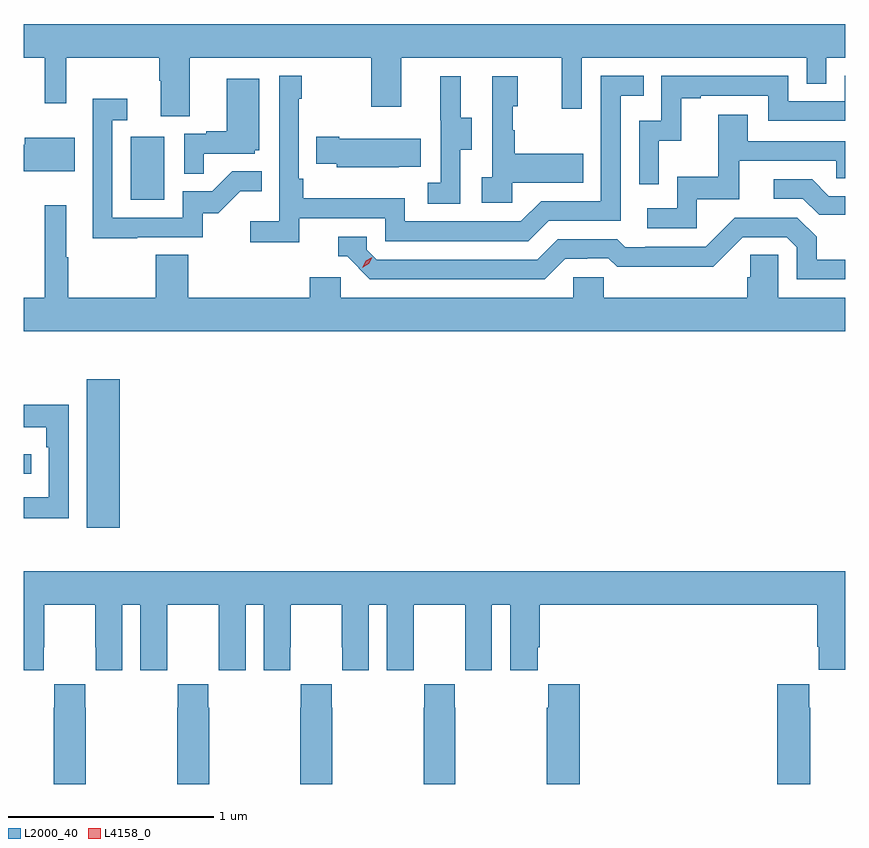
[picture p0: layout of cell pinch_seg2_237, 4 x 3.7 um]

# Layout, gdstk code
import gdstk
lib = gdstk.Library(unit=1e-6, precision=1e-09)
def R(c, l, rs):  # rectangles x0, y0, x1, y1
    for r in rs: c.add(gdstk.rectangle(r[:2], r[2:], *l))
def P(c, l, *ps):  # polygons
    for p in ps: c.add(gdstk.Polygon(p, *l))
L2000_40 = (2000, 40)
L4158_0 = (4158, 0)

pinch_seg2_237 = lib.new_cell('pinch_seg2_237')
R(pinch_seg2_237, L2000_40, [(936.779,649.344,936.94,650.065), (936.472,649.605,936.508,649.701), (936.992,650.94,937.156,651.247)])
P(pinch_seg2_237, L2000_40, [(937.279,651.632),(938.164,651.632),(938.164,651.393),(938.311,651.393),(938.311,651.632),(939.092,651.632),(939.092,651.384),(939.189,651.384),(939.189,651.632),(940.284,651.632),(940.284,651.505),(940.38,651.505),(940.38,651.632),(940.472,651.632),(940.472,651.796),(936.472,651.796),(936.472,651.632),(936.575,651.632),(936.575,651.411),(936.679,651.411),(936.679,651.632),(937.132,651.632),(937.132,651.52),(937.139,651.52),(937.139,651.346),(937.279,651.346)],
  [(937.814,650.85),(938.232,650.85),(938.232,650.739),(938.929,650.739),(939.028,650.838),(939.378,650.838),(939.378,651.447),(939.491,651.447),(939.491,651.543),(939.282,651.543),(939.282,650.934),(938.991,650.934),(938.892,650.835),(938.328,650.835),(938.328,650.947),(937.832,650.947),(937.832,651.043),(937.812,651.043),(937.812,651.431),(937.825,651.431),(937.825,651.544),(937.716,651.544),(937.716,650.836),(937.575,650.836),(937.575,650.734),(937.814,650.734)],
  [(939.564,651.227),(939.674,651.227),(939.674,651.435),(939.769,651.435),(939.769,651.447),(940.098,651.447),(940.098,651.324),(940.472,651.324),(940.472,651.543),(940.47,651.543),(940.47,651.42),(940.194,651.42),(940.194,651.543),(939.576,651.543),(939.576,651.324),(939.468,651.324),(939.468,651.015),(939.564,651.015)],
  [(938.598,651.184),(938.653,651.184),(938.653,651.339),(938.599,651.339),(938.599,651.541),(938.501,651.541),(938.501,651.327),(938.502,651.327),(938.502,651.023),(938.439,651.023),(938.439,650.92),(938.598,650.92)],
  [(938.85,651.023),(939.197,651.023),(939.197,651.163),(938.863,651.163),(938.863,651.278),(938.853,651.278),(938.853,651.396),(938.878,651.396),(938.878,651.541),(938.754,651.541),(938.754,651.05),(938.703,651.05),(938.703,650.925),(938.85,650.925)],
  [(937.349,651.165),(937.596,651.165),(937.596,651.18),(937.618,651.18),(937.618,651.529),(937.46,651.529),(937.46,651.274),(937.361,651.274),(937.361,651.261),(937.254,651.261),(937.254,651.067),(937.349,651.067)],
  [(937.025,650.757),(937.344,650.757),(937.344,650.874),(937.42,650.874),(937.527,650.981),(937.631,650.981),(937.631,651.08),(937.487,651.08),(937.389,650.982),(937.245,650.982),(937.245,650.853),(936.903,650.853),(936.903,651.327),(936.976,651.327),(936.976,651.433),(936.807,651.433),(936.807,650.752),(937.025,650.752)],
  [(939.75,650.943),(939.955,650.943),(939.955,651.129),(940.429,651.129),(940.429,651.045),(940.472,651.045),(940.472,651.225),(939.997,651.225),(939.997,651.355),(939.853,651.355),(939.853,651.052),(939.654,651.052),(939.654,650.898),(939.507,650.898),(939.507,650.802),(939.75,650.802)],
  [(938.297,651.101),(938.405,651.101),(938.405,651.238),(938.008,651.238),(938.008,651.246),(937.897,651.246),(937.897,651.116),(937.995,651.116),(937.995,651.098),(938.297,651.098)],
  [(936.721,651.241),(936.476,651.241),(936.476,651.209),(936.472,651.209),(936.472,651.08),(936.721,651.08)],
  [(940.472,650.958),(940.393,650.958),(940.312,651.039),(940.125,651.039),(940.125,650.946),(940.266,650.946),(940.346,650.866),(940.472,650.866)],
  [(940.472,650.464),(940.146,650.464),(940.146,650.672),(940.009,650.672),(940.009,650.562),(939.995,650.562),(939.995,650.464),(939.297,650.464),(939.297,650.562),(939.147,650.562),(939.147,650.464),(938.016,650.464),(938.016,650.562),(937.865,650.562),(937.865,650.464),(937.274,650.464),(937.274,650.672),(937.114,650.672),(937.114,650.464),(936.689,650.464),(936.689,650.66),(936.679,650.66),(936.679,650.914),(936.575,650.914),(936.575,650.464),(936.472,650.464),(936.472,650.3),(940.472,650.3)],
  [(939.109,650.652),(939.216,650.652),(939.216,650.655),(939.319,650.655),(939.361,650.613),(939.594,650.613),(939.594,650.615),(939.83,650.615),(939.972,650.757),(940.188,650.757),(940.236,650.709),(940.236,650.553),(940.472,650.553),(940.472,650.649),(940.333,650.649),(940.333,650.759),(940.239,650.853),(939.933,650.853),(939.792,650.712),(939.499,650.712),(939.499,650.709),(939.4,650.709),(939.361,650.748),(939.072,650.748),(938.973,650.649),(938.19,650.649),(938.142,650.697),(938.142,650.76),(938.003,650.76),(938.003,650.664),(938.046,650.664),(938.157,650.553),(939.01,650.553)],
  [(936.69,649.942),(936.472,649.942),(936.472,649.832),(936.581,649.832),(936.581,649.736),(936.594,649.736),(936.594,649.491),(936.472,649.491),(936.472,649.39),(936.69,649.39)],
  [(936.472,648.648),(936.57,648.648),(936.57,648.76),(936.571,648.76),(936.571,648.968),(936.821,648.968),(936.821,648.76),(936.822,648.76),(936.822,648.648),(936.952,648.648),(936.952,648.968),(937.04,648.968),(937.04,648.648),(937.17,648.648),(937.17,648.76),(937.171,648.76),(937.171,648.968),(937.421,648.968),(937.421,648.76),(937.422,648.76),(937.422,648.648),(937.552,648.648),(937.552,648.968),(937.64,648.968),(937.64,648.648),(937.77,648.648),(937.77,648.76),(937.771,648.76),(937.771,648.968),(938.021,648.968),(938.021,648.76),(938.022,648.76),(938.022,648.648),(938.152,648.648),(938.152,648.968),(938.24,648.968),(938.24,648.648),(938.37,648.648),(938.37,648.76),(938.371,648.76),(938.371,648.968),(938.621,648.968),(938.621,648.76),(938.622,648.76),(938.622,648.648),(938.752,648.648),(938.752,648.968),(938.84,648.968),(938.84,648.648),(938.974,648.648),(938.974,648.76),(938.984,648.76),(938.984,648.968),(940.337,648.968),(940.337,648.763),(940.343,648.763),(940.343,648.651),(940.472,648.651),(940.472,649.132),(936.472,649.132)],
  [(936.774,648.467),(936.771,648.467),(936.771,648.58),(936.621,648.58),(936.621,648.467),(936.619,648.467),(936.619,648.095),(936.774,648.095)],
  [(937.374,648.467),(937.371,648.467),(937.371,648.58),(937.221,648.58),(937.221,648.467),(937.219,648.467),(937.219,648.095),(937.374,648.095)],
  [(937.974,648.467),(937.971,648.467),(937.971,648.58),(937.821,648.58),(937.821,648.467),(937.819,648.467),(937.819,648.095),(937.974,648.095)],
  [(938.574,648.467),(938.571,648.467),(938.571,648.58),(938.421,648.58),(938.421,648.467),(938.419,648.467),(938.419,648.095),(938.574,648.095)],
  [(939.179,648.58),(939.025,648.58),(939.025,648.467),(939.019,648.467),(939.019,648.095),(939.179,648.095)],
  [(940.302,648.467),(940.297,648.467),(940.297,648.58),(940.142,648.58),(940.142,648.095),(940.302,648.095)])
P(pinch_seg2_237, L4158_0, [(938.121,650.609),(938.121,650.609),(938.137,650.642),(938.168,650.661),(938.168,650.661),(938.168,650.661),(938.152,650.628),(938.121,650.609)])

lib.write_gds('pinch_seg2_237.gds')
